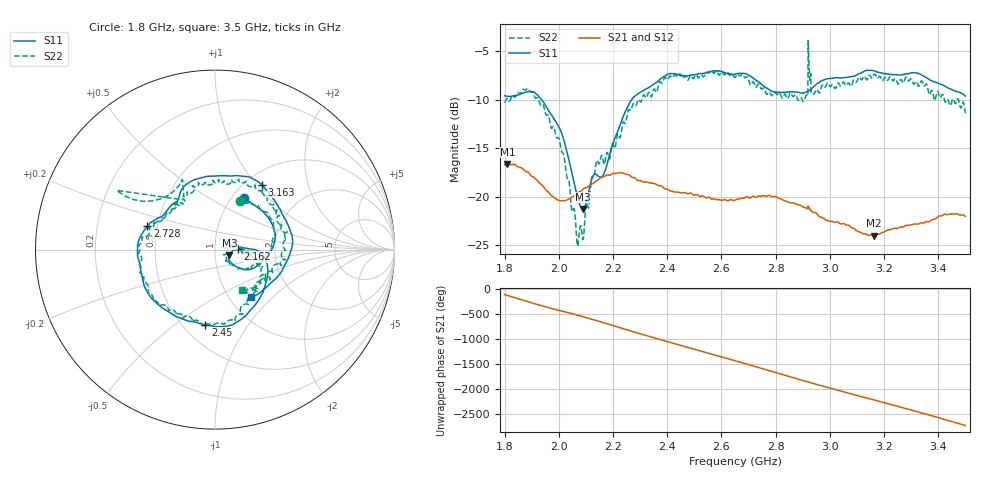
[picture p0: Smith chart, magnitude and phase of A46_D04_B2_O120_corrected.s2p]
! Created with skrf 1.9.0 (http://scikit-rf.org).
# Hz S RI R 50.0
!freq ReS11 ImS11 ReS21 ImS21 ReS12 ImS12 ReS22 ImS22
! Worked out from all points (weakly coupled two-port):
!   1601 points, 1.8 GHz to 3.5 GHz, reference 50 ohm
!   highest |S21| = -16.62 dB at 1.811 GHz (marker M1); lowest = -24.0 dB at 3.162 GHz (marker M2)
!   lowest |S11| = -21.3 dB at 2.089 GHz (marker M3), VSWR 1.19, Z = 58.5 - j3.81 ohm
!   |S11| at or under -10 dB: 1.937 GHz to 2.269 GHz (331.5 MHz wide, 15.8 % of centre)
!   |S22| runs from -25.1 to -3.9 dB; largest |S21 - S12| = 0.0024
!   S11 on the Smith chart (normalised r, x): 1.8 GHz: 1.14, +0.74; 2.162 GHz: 1.29, +0.01; 2.45 GHz: 0.64, -0.65; 2.728 GHz: 0.44, +0.14; 3.163 GHz: 1.18, +1.07; 3.5 GHz: 1.26, -0.74
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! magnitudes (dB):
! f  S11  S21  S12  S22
! 1.8 GHz  -9.6  -16.7  -16.7  -10.3
! 1.811 GHz  -9.7  -16.6  -16.6  -9.9
! 1.883 GHz  -9.2  -17.5  -17.5  -8.9
! 1.942 GHz  -10.2  -19.0  -18.9  -10.5
! 2.011 GHz  -13.5  -20.4  -20.4  -15.4
! 2.067 GHz  -19.8  -19.7  -19.7  -24.7
! 2.084 GHz  -21.2  -19.4  -19.4  -23.4
! 2.089 GHz  -21.3  -19.3  -19.3  -24.4
! 2.129 GHz  -17.7  -18.6  -18.6  -18.0
! 2.162 GHz  -17.9  -18.0  -17.9  -16.1
! 2.262 GHz  -10.3  -17.8  -17.8  -11.1
! 2.367 GHz  -8.1  -18.9  -18.8  -8.5
! 2.45 GHz  -7.5  -19.6  -19.6  -7.5
! 2.65 GHz  -7.4  -20.4  -20.4  -7.7
! 2.728 GHz  -8.0  -20.1  -20.1  -8.7
! 2.899 GHz  -9.3  -21.0  -21.0  -10.1
! 2.921 GHz  -9.1  -21.0  -21.0  -4.7
! 2.934 GHz  -8.8  -21.5  -21.5  -9.2
! 3.162 GHz  -7.0  -24.0  -24.0  -7.5
! 3.163 GHz  -7.0  -24.0  -24.0  -7.4
! 3.217 GHz  -7.4  -23.4  -23.4  -7.8
! 3.5 GHz  -9.6  -22.1  -22.0  -11.4
